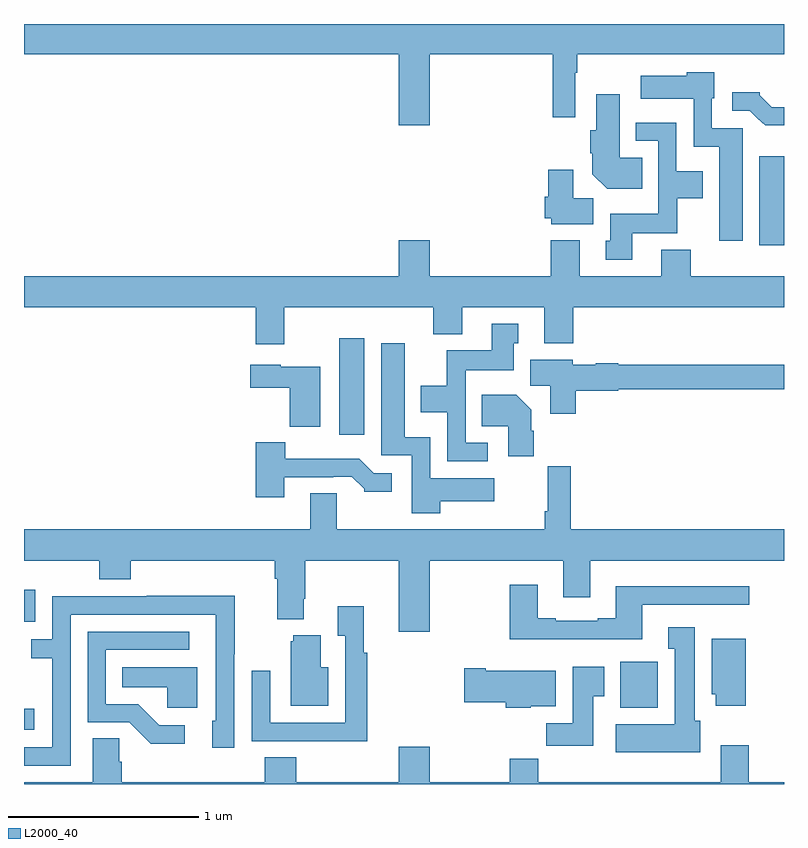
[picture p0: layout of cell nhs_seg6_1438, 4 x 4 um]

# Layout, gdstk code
import gdstk
lib = gdstk.Library(unit=1e-6, precision=1e-09)
def R(c, l, rs):  # rectangles x0, y0, x1, y1
    for r in rs: c.add(gdstk.rectangle(r[:2], r[2:], *l))
def P(c, l, *ps):  # polygons
    for p in ps: c.add(gdstk.Polygon(p, *l))
L2000_40 = (2000, 40)

nhs_seg6_1438 = lib.new_cell('nhs_seg6_1438')
R(nhs_seg6_1438, L2000_40, [(199,939.785,199.054,939.895), (202.139,939.902,202.336,940.144), (199,940.353,199.059,940.522), (200.66,941.337,200.791,941.845), (202.871,942.336,203,942.805)])
P(nhs_seg6_1438, L2000_40, [(201.136,943.34),(201.784,943.34),(201.784,943.008),(201.9,943.008),(201.9,943.244),(201.913,943.244),(201.913,943.34),(203,943.34),(203,943.5),(199,943.5),(199,943.34),(200.972,943.34),(200.972,942.966),(201.136,942.966)],
  [(202.783,942.951),(202.62,942.951),(202.62,943.11),(202.633,943.11),(202.633,943.246),(202.488,943.246),(202.488,943.228),(202.245,943.228),(202.245,943.106),(202.524,943.106),(202.524,942.854),(202.658,942.854),(202.658,942.36),(202.783,942.36)],
  [(203,943.062),(202.936,943.062),(202.872,943.126),(202.872,943.141),(202.728,943.141),(202.728,943.044),(202.821,943.044),(202.86,943.005),(202.9,942.966),(203,942.966)],
  [(202.253,942.796),(202.135,942.796),(202.135,943.129),(202.013,943.129),(202.013,942.942),(201.98,942.942),(201.98,942.82),(201.992,942.82),(201.992,942.71),(202.07,942.632),(202.253,942.632)],
  [(202.201,942.398),(202.437,942.398),(202.437,942.584),(202.573,942.584),(202.573,942.724),(202.434,942.724),(202.434,942.981),(202.221,942.981),(202.221,942.885),(202.338,942.885),(202.338,942.502),(202.085,942.502),(202.085,942.36),(202.061,942.36),(202.061,942.258),(202.201,942.258)],
  [(201.997,942.584),(201.892,942.584),(201.892,942.733),(201.758,942.733),(201.758,942.591),(201.74,942.591),(201.74,942.477),(201.774,942.477),(201.774,942.446),(201.997,942.446)],
  [(200.371,942.008),(201.155,942.008),(201.155,941.867),(201.307,941.867),(201.307,942.008),(201.737,942.008),(201.737,941.819),(201.89,941.819),(201.89,942.008),(203,942.008),(203,942.172),(202.508,942.172),(202.508,942.313),(202.355,942.313),(202.355,942.172),(201.925,942.172),(201.925,942.361),(201.773,942.361),(201.773,942.172),(201.136,942.172),(201.136,942.361),(200.972,942.361),(200.972,942.172),(199,942.172),(199,942.008),(200.219,942.008),(200.219,941.814),(200.371,941.814)],
  [(201.442,941.295),(201.324,941.295),(201.324,941.678),(201.577,941.678),(201.577,941.82),(201.601,941.82),(201.601,941.923),(201.461,941.923),(201.461,941.782),(201.226,941.782),(201.226,941.596),(201.089,941.596),(201.089,941.456),(201.228,941.456),(201.228,941.199),(201.442,941.199)],
  [(201.191,940.988),(201.475,940.988),(201.475,941.11),(201.138,941.11),(201.138,941.326),(201.004,941.326),(201.004,941.821),(200.879,941.821),(200.879,941.229),(201.042,941.229),(201.042,940.926),(201.191,940.926)],
  [(201.905,941.57),(202.128,941.57),(202.128,941.578),(203,941.578),(203,941.707),(202.128,941.707),(202.128,941.715),(202.008,941.715),(202.008,941.707),(201.888,941.707),(201.888,941.734),(201.665,941.734),(201.665,941.596),(201.77,941.596),(201.77,941.448),(201.905,941.448)],
  [(200.56,941.695),(200.352,941.695),(200.352,941.707),(200.19,941.707),(200.19,941.585),(200.398,941.585),(200.398,941.381),(200.56,941.381)],
  [(201.683,941.36),(201.67,941.36),(201.67,941.47),(201.592,941.548),(201.409,941.548),(201.409,941.384),(201.548,941.384),(201.548,941.226),(201.683,941.226)],
  [(200.371,941.115),(200.627,941.115),(200.627,941.118),(200.726,941.118),(200.79,941.054),(200.79,941.039),(200.935,941.039),(200.935,941.136),(200.841,941.136),(200.765,941.212),(200.374,941.212),(200.374,941.299),(200.219,941.299),(200.219,941.01),(200.371,941.01)],
  [(201.136,940.676),(201.839,940.676),(201.839,940.482),(201.979,940.482),(201.979,940.676),(203,940.676),(203,940.84),(201.878,940.84),(201.878,941.173),(201.757,941.173),(201.757,940.936),(201.742,940.936),(201.742,940.84),(200.647,940.84),(200.647,941.03),(200.507,941.03),(200.507,940.84),(199,940.84),(199,940.676),(199.397,940.676),(199.397,940.577),(199.562,940.577),(199.562,940.676),(200.321,940.676),(200.321,940.58),(200.333,940.58),(200.333,940.367),(200.473,940.367),(200.473,940.474),(200.481,940.474),(200.481,940.676),(200.972,940.676),(200.972,940.302),(201.136,940.302)],
  [(202.255,940.443),(202.816,940.443),(202.816,940.54),(202.115,940.54),(202.115,940.372),(202.019,940.372),(202.019,940.359),(201.799,940.359),(201.799,940.372),(201.703,940.372),(201.703,940.549),(201.556,940.549),(201.556,940.262),(202.255,940.262)],
  [(199.245,940.392),(200.009,940.392),(200.009,940.138),(200.01,940.138),(200.01,939.834),(199.991,939.834),(199.991,939.69),(200.106,939.69),(200.106,940.183),(200.109,940.183),(200.109,940.49),(199.645,940.49),(199.645,940.488),(199.149,940.488),(199.149,940.263),(199.039,940.263),(199.039,940.162),(199.149,940.162),(199.149,939.693),(199,939.693),(199,939.597),(199.245,939.597)],
  [(200.807,940.19),(200.789,940.19),(200.789,940.435),(200.651,940.435),(200.651,940.279),(200.691,940.279),(200.691,939.822),(200.295,939.822),(200.295,940.096),(200.199,940.096),(200.199,939.726),(200.515,939.726),(200.515,939.725),(200.807,939.725)],
  [(202.558,939.834),(202.531,939.834),(202.531,940.324),(202.391,940.324),(202.391,940.211),(202.424,940.211),(202.424,939.814),(202.115,939.814),(202.115,939.668),(202.558,939.668)],
  [(199.846,939.81),(199.711,939.81),(199.6,939.921),(199.431,939.921),(199.431,940.206),(199.87,940.206),(199.87,940.302),(199.335,940.302),(199.335,939.825),(199.554,939.825),(199.667,939.713),(199.846,939.713)],
  [(200.602,940.114),(200.563,940.114),(200.563,940.282),(200.417,940.282),(200.417,940.251),(200.405,940.251),(200.405,939.911),(200.602,939.911)],
  [(202.798,940.264),(202.619,940.264),(202.619,939.972),(202.64,939.972),(202.64,939.912),(202.798,939.912)],
  [(201.997,939.961),(202.054,939.961),(202.054,940.117),(201.887,940.117),(201.887,939.82),(201.748,939.82),(201.748,939.702),(201.997,939.702)],
  [(199.912,940.114),(199.516,940.114),(199.516,940.01),(199.755,940.01),(199.755,939.902),(199.912,939.902)],
  [(201.666,939.908),(201.799,939.908),(201.799,940.096),(201.43,940.096),(201.43,940.109),(201.318,940.109),(201.318,939.931),(201.536,939.931),(201.536,939.902),(201.666,939.902)],
  [(203,939.508),(202.815,939.508),(202.815,939.703),(202.667,939.703),(202.667,939.508),(201.707,939.508),(201.707,939.632),(201.556,939.632),(201.556,939.508),(201.136,939.508),(201.136,939.697),(200.972,939.697),(200.972,939.508),(200.432,939.508),(200.432,939.641),(200.267,939.641),(200.267,939.508),(199.514,939.508),(199.514,939.617),(199.5,939.617),(199.5,939.74),(199.361,939.74),(199.361,939.508),(199,939.508),(199,939.5),(203,939.5)])

lib.write_gds('nhs_seg6_1438.gds')
